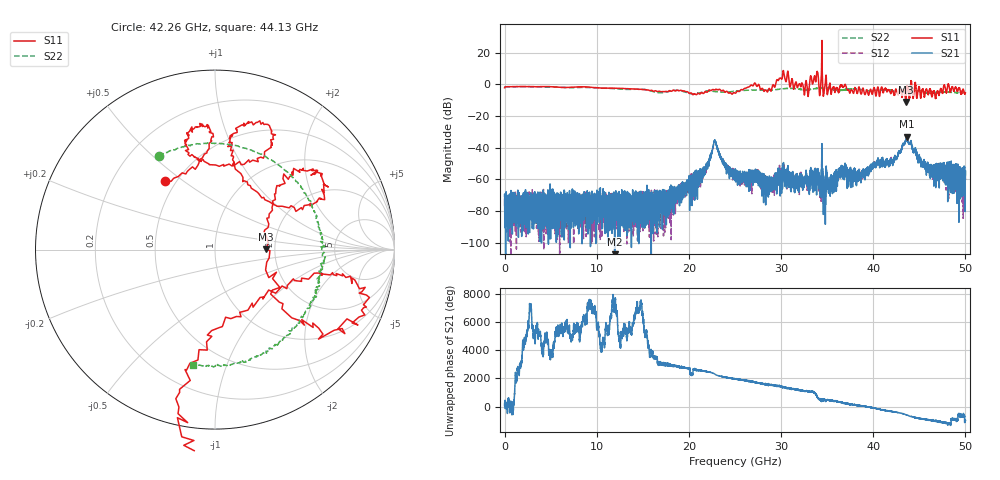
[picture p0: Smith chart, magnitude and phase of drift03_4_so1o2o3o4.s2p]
!Created with skrf (http://scikit-rf.org).
# Hz S RI R 50.0
!freq ReS11 ImS11 ReS21 ImS21 ReS12 ImS12 ReS22 ImS22
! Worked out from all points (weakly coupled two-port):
!   10000 points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, 5.3 MHz to 50 GHz, reference 50 ohm
!   highest |S21| = -33.01 dB at 43.65 GHz (marker M1); lowest = -112.0 dB at 11.95 GHz (marker M2)
!   lowest |S11| = -11.0 dB at 43.53 GHz (marker M3), VSWR 1.78, Z = 89.2 + j0.375 ohm
!   |S11| at or under -10 dB: 43.50593 GHz to 43.55692 GHz (50.99 MHz wide, 0.117 % of centre)
!   |S22| runs from -6.0 to -1.3 dB; largest |S21 - S12| = 0.0078
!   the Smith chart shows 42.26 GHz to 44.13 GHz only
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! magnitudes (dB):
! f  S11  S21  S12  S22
! 5.3 MHz  -2.1  -70.6  -76.9  -2.1
! 8.34 GHz  -1.5  -80.4  -73.4  -1.9
! 11.95 GHz  -2.3  -112.0  -77.3  -2.7
! 16.67 GHz  -4.4  -74.9  -78.5  -5.2
! 21.16 GHz  -6.1  -62.6  -60.9  -5.3
! 22.8 GHz  -3.5  -35.4  -35.4  -4.5
! 23.87 GHz  -4.6  -49.3  -50.6  -4.9
! 25.01 GHz  -5.5  -56.5  -55.9  -4.2
! 27.01 GHz  -0.5  -61.0  -56.0  -3.5
! 28.99 GHz  -3.0  -61.2  -61.4  -3.5
! 30.14 GHz  4.3  -54.8  -53.8  -2.8
! 32.74 GHz  2.1  -58.9  -58.3  -3.3
! 33.34 GHz  2.5  -56.8  -55.7  -2.9
! 33.82 GHz  3.9  -58.9  -58.4  -2.5
! 35.41 GHz  -5.2  -60.1  -60.7  -2.8
! 36.46 GHz  -0.7  -55.2  -54.3  -3.6
! 38.08 GHz  -2.4  -58.6  -57.7  -2.9
! 41.67 GHz  -3.4  -49.6  -50.4  -3.7
! 43.53 GHz  -11.0  -35.4  -35.3  -4.2
! 43.65 GHz  -2.4  -33.0  -33.6  -4.1
! 45.92 GHz  -6.0  -52.0  -54.5  -5.4
! 50 GHz  -5.2  -54.6  -55.8  -5.0
